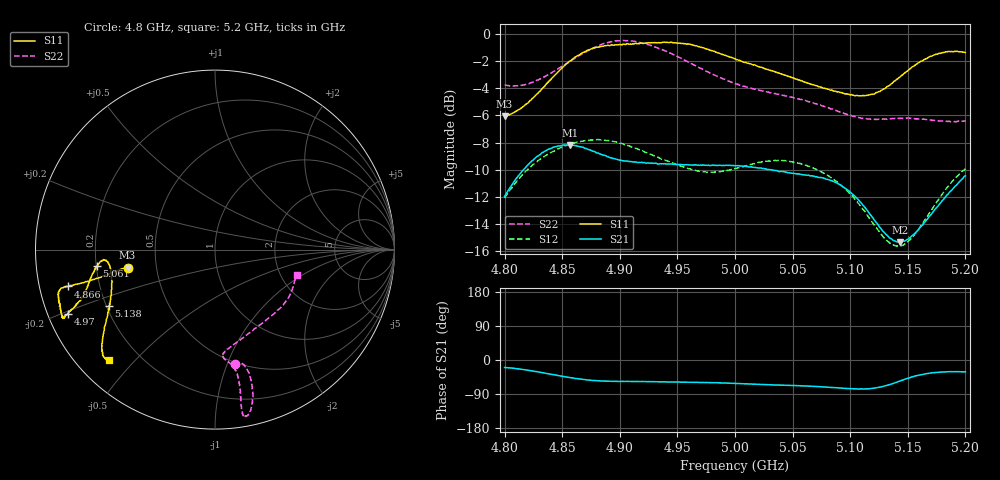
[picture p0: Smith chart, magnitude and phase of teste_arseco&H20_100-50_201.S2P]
! Network Analyzer HP8722D
! Hewlett-Packard
! Data name: Linha & Wilkinson
! Saver's name: Rodrigo Anjos
! Comments: Teste da utilização de aquisição
! continua pelo VNA HP8722D
! Time and date: 6/5/2025 14:14
!  Frequency  S11  S21  S12  S22
# HZ  S  MA R 50
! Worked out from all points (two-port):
!   401 points, 4.8 GHz to 5.2 GHz, reference 50 ohm
!   highest |S21| = -8.17 dB at 4.857 GHz (marker M1); lowest = -15.3 dB at 5.143 GHz (marker M2)
!   |S21| within 3 dB of the highest: 4.806 GHz to 5.092 GHz (286.5 MHz wide, 5.79 % of centre); 5.19168 GHz to end of sweep
!   lowest |S11| = -6.1 dB at 4.8 GHz (marker M3), VSWR 2.98, Z = 16.9 - j4.55 ohm
!   |S11| at or under -10 dB: nowhere
!   |S22| runs from -6.5 to -0.5 dB; largest |S21 - S12| = 0.62
!   S11 on the Smith chart (normalised r, x): 4.8 GHz: 0.34, -0.09; 4.866 GHz: 0.09, -0.12; 4.97 GHz: 0.06, -0.21; 5.061 GHz: 0.20, -0.07; 5.138 GHz: 0.21, -0.24; 5.2 GHz: 0.09, -0.42
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4.8e9  0.4975 -168.3  0.2527 -19.9  0.2492 -140.9  0.648 -80.3
4.828e9  0.601 -167.2  0.3541 -30.8  0.3382 -145.0  0.6752 -75.5
4.857e9  0.7961 -166.0  0.3903 -46.5  0.3929 -150.4  0.7923 -74.8
4.866e9  0.8437 -165.9  0.384 -50.5  0.4019 -152.0  0.8371 -75.4
4.867e9  0.8492 -166.0  0.3831 -50.9  0.4027 -152.2  0.8426 -75.4
4.879e9  0.889 -165.6  0.3665 -54.3  0.4073 -154.2  0.8933 -76.7
4.901e9  0.9112 -162.6  0.3428 -56.4  0.3958 -156.9  0.9441 -79.3
4.934e9  0.9283 -156.6  0.3325 -57.6  0.3502 -155.7  0.8821 -80.6
4.97e9  0.8929 -156.5  0.3295 -59.3  0.3122 -147.0  0.7465 -79.8
5e9  0.8094 -159.2  0.3269 -61.9  0.3194 -137.3  0.656 -81.3
5.036e9  0.7229 -165.7  0.3141 -66.1  0.3415 -134.5  0.6012 -85.7
5.061e9  0.6632 -172.1  0.3028 -68.4  0.3291 -136.4  0.569 -84.1
5.067e9  0.6512 -173.2  0.3008 -69.3  0.3224 -136.8  0.5583 -82.6
5.083e9  0.6204 -174.6  0.2886 -72.3  0.2966 -138.3  0.5298 -76.7
5.103e9  0.5945 -171.6  0.2549 -76.1  0.2497 -138.8  0.4974 -65.2
5.119e9  0.5991 -163.7  0.2124 -74.6  0.2031 -134.0  0.4848 -53.7
5.134e9  0.6453 -154.5  0.1777 -65.1  0.1708 -120.6  0.4865 -43.3
5.138e9  0.669 -152.0  0.1736 -61.2  0.167 -115.5  0.4876 -40.8
5.143e9  0.6931 -149.5  0.1715 -55.6  0.1656 -108.8  0.4888 -38.0
5.154e9  0.7562 -144.6  0.1814 -44.4  0.1792 -95.0  0.4888 -32.4
5.172e9  0.8339 -139.1  0.2217 -33.5  0.2301 -81.2  0.481 -24.5
5.2e9  0.8531 -133.7  0.3006 -31.5  0.3196 -77.1  0.4773 -17.5
